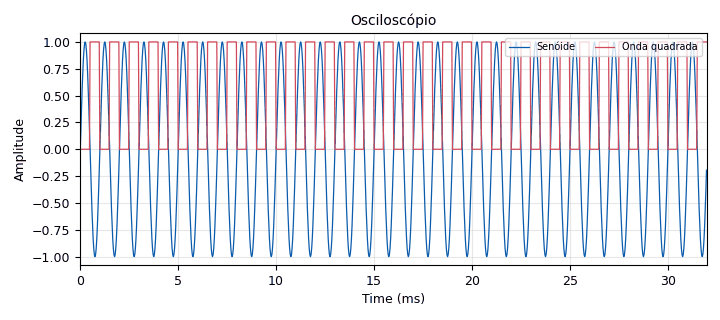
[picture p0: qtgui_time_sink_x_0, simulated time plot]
options:
  parameters:
    generate_options: qt_gui
    id: Exp00_AR01
    output_language: python
    title: AR01
  states: {}

blocks:
- name: samp_rate
  id: variable
  parameters:
    value: '32000'
  states: {}
- name: analog_sig_source_x_0
  id: analog_sig_source_x
  parameters:
    amp: '1'
    freq: '1000'
    offset: '0'
    phase: '0'
    samp_rate: samp_rate
    type: float
    waveform: analog.GR_SIN_WAVE
  states: {}
- name: analog_sig_source_x_0_0
  id: analog_sig_source_x
  parameters:
    amp: '1'
    freq: '1000'
    offset: '0'
    phase: '0'
    samp_rate: samp_rate
    type: float
    waveform: analog.GR_SQR_WAVE
  states: {}
- name: blocks_throttle_0
  id: blocks_throttle
  parameters:
    samples_per_second: samp_rate
    type: float
  states: {}
- name: blocks_throttle_0_0
  id: blocks_throttle
  parameters:
    samples_per_second: samp_rate
    type: float
  states: {}
- name: qtgui_time_sink_x_0
  id: qtgui_time_sink_x
  parameters:
    ctrlpanel: 'True'
    grid: 'True'
    label1: Senóide
    label2: Onda quadrada
    name: Osciloscópio
    nconnections: '2'
    size: '1024'
    srate: samp_rate
    tr_mode: qtgui.TRIG_MODE_AUTO
    type: float
    yunit: '"V"'
  states: {}

connections:
- [analog_sig_source_x_0, '0', blocks_throttle_0, '0']
- [analog_sig_source_x_0_0, '0', blocks_throttle_0_0, '0']
- [blocks_throttle_0, '0', qtgui_time_sink_x_0, '0']
- [blocks_throttle_0_0, '0', qtgui_time_sink_x_0, '1']

metadata:
  file_format: 1
